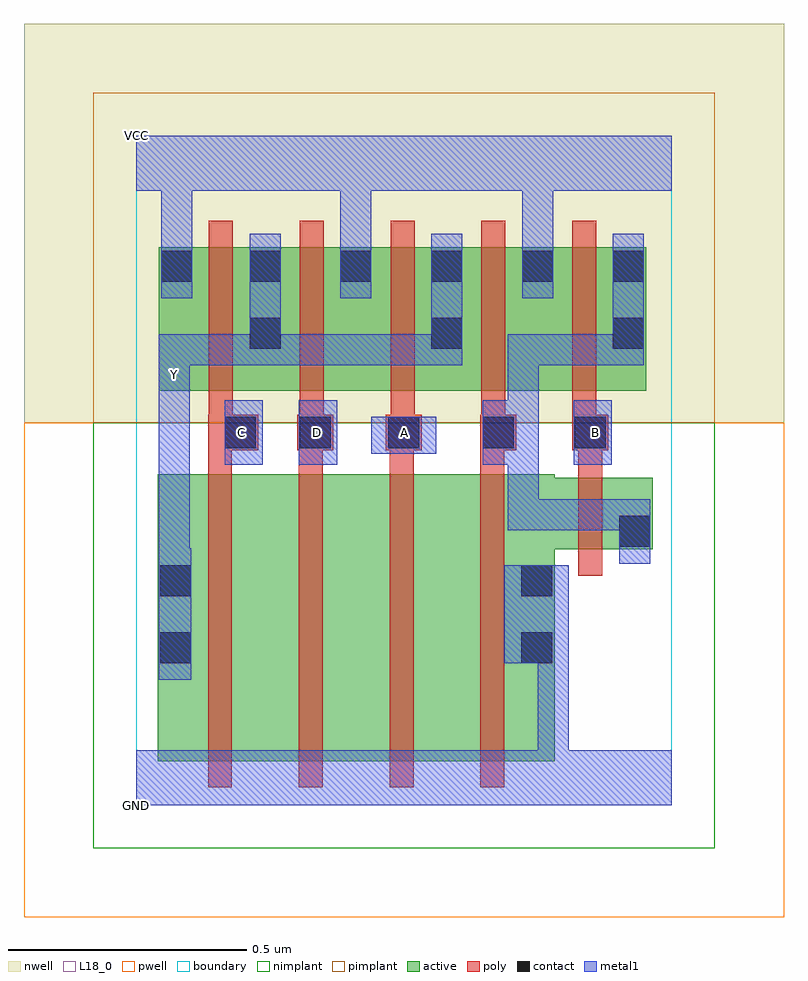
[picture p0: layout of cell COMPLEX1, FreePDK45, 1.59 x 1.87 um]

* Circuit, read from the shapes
.subckt COMPLEX1 A B C D GND VCC Y
M1 n1 C Y VSUBS nfet w=0.6u l=0.05u
M2 n2 D n1 VSUBS nfet w=0.6u l=0.05u
M3 n3 A n2 VSUBS nfet w=0.6u l=0.05u
M4 GND n4 n3 VSUBS nfet w=0.6u l=0.05u
M5 n4 B GND VSUBS nfet w=0.15u l=0.05u
M6 Y C VCC n5 pfet w=0.3u l=0.05u
M7 VCC D Y n5 pfet w=0.3u l=0.05u
M8 Y A VCC n5 pfet w=0.3u l=0.05u
M9 VCC n4 Y n5 pfet w=0.3u l=0.05u
M10 n4 B VCC n5 pfet w=0.3u l=0.05u
.ends

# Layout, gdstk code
import gdstk
lib = gdstk.Library(unit=1e-6, precision=1e-09)
def R(c, l, rs):  # rectangles x0, y0, x1, y1
    for r in rs: c.add(gdstk.rectangle(r[:2], r[2:], *l))
def A(c, l, x, y, w, h, nx, ny, dx, dy):  # array of equal rectangles
    R(c, l, [(x+i*dx, y+j*dy, x+i*dx+w, y+j*dy+h) for i in range(nx) for j in range(ny)])
active = (1, 0)
pwell = (2, 0)
nwell = (3, 0)
nimplant = (4, 0)
pimplant = (5, 0)
poly = (9, 0)
contact = (10, 0)
metal1 = (11, 0)
L18_0 = (18, 0)
boundary = (235, 0)

complex1 = lib.new_cell('COMPLEX1')
A(complex1, active, 0.232, 0.867, 0.265, 0.3, 4, 1, 0.19, 0)
R(complex1, active, [(0.045,0.092,0.27,0.692), (0.27,0.092,0.46,0.692), (0.46,0.092,0.65,0.692), (0.65,0.092,0.875,0.692), (0.045,0.145,0.15,0.692), (0.8,0.292,0.875,0.685), (0.8,0.535,1.08,0.685), (1.005,0.535,1.08,0.685), (0.047,0.867,0.307,1.167), (0.047,0.867,0.122,1.167), (0.992,0.867,1.067,1.165), (0.232,0.907,0.307,1.167), (0.612,0.95,0.687,1.167), (0.422,1.002,0.497,1.167), (0.802,1.007,0.877,1.167)])
R(complex1, pwell, [(-0.235,-0.235,1.355,0.8)])
R(complex1, nwell, [(-0.235,0.8,1.355,1.635)])
R(complex1, nimplant, [(-0.09,-0.09,1.21,0.8)])
R(complex1, pimplant, [(-0.09,0.8,1.21,1.49)])
A(complex1, poly, 0.15, 0.037, 0.05, 0.71, 4, 1, 0.19, 0)
A(complex1, poly, 0.15, 0.697, 0.05, 0.095, 4, 1, 0.19, 0)
A(complex1, poly, 0.152, 0.767, 0.05, 0.095, 5, 1, 0.19, 0)
A(complex1, poly, 0.152, 0.812, 0.05, 0.41, 5, 1, 0.19, 0)
R(complex1, poly, [(0.925,0.48,0.975,0.74), (0.925,0.69,0.975,0.792), (0.15,0.742,0.255,0.817), (0.337,0.742,0.412,0.817), (0.522,0.742,0.597,0.817), (0.72,0.742,0.795,0.817), (0.912,0.742,0.987,0.817)])
A(complex1, contact, 0.237, 0.955, 0.065, 0.065, 3, 1, 0.38, 0)
A(complex1, contact, 0.237, 1.095, 0.065, 0.065, 5, 1, 0.19, 0)
R(complex1, contact, [(0.05,0.297,0.115,0.362), (0.805,0.297,0.87,0.362), (0.05,0.437,0.115,0.502), (0.805,0.437,0.87,0.502), (1.01,0.54,1.075,0.605), (0.185,0.747,0.25,0.812), (0.342,0.747,0.407,0.812), (0.527,0.747,0.592,0.812), (0.725,0.747,0.79,0.812), (0.917,0.747,0.982,0.812), (0.052,1.095,0.117,1.16)])
A(complex1, metal1, 0.237, 0.92, 0.065, 0.275, 3, 1, 0.38, 0)
R(complex1, metal1, [(0,0,1.12,0.115), (0.84,0.05,0.905,0.362), (0.047,0.262,0.115,0.537), (0.77,0.297,0.905,0.502), (0.84,0.297,0.905,0.362), (0.84,0.297,0.905,0.362), (0.047,0.472,0.112,0.897), (1.01,0.505,1.075,0.64), (0.777,0.575,0.842,0.64), (0.777,0.575,1.075,0.64), (0.777,0.575,0.842,0.777), (1.01,0.575,1.075,0.64), (1.01,0.575,1.075,0.64), (0.185,0.712,0.265,0.847), (0.34,0.712,0.42,0.847), (0.725,0.712,0.79,0.847), (0.725,0.712,0.842,0.777), (0.777,0.712,0.842,0.777), (0.777,0.712,0.842,0.985), (0.915,0.712,0.995,0.847), (0.492,0.735,0.627,0.812), (0.047,0.832,0.112,0.967), (0.047,0.902,0.112,0.985), (0.047,0.92,0.112,0.985), (0.047,0.92,0.112,0.985), (0.047,0.92,0.112,0.985), (0.047,0.92,0.302,0.985), (0.237,0.92,0.302,0.985), (0.237,0.92,0.302,0.985), (0.237,0.92,0.545,0.985), (0.48,0.92,0.545,0.985), (0.48,0.92,0.545,0.985), (0.48,0.92,0.545,0.985), (0.48,0.92,0.682,0.985), (0.777,0.92,0.842,0.985), (0.777,0.92,1.062,0.985), (0.997,0.92,1.062,0.985), (0.997,0.92,1.062,0.985), (0.052,1.06,0.117,1.195), (0.427,1.06,0.492,1.195), (0.807,1.06,0.872,1.195), (0.052,1.13,0.117,1.35), (0.427,1.13,0.492,1.195), (0.427,1.13,0.492,1.195), (0.427,1.13,0.492,1.35), (0.807,1.13,0.872,1.195), (0.807,1.13,0.872,1.195), (0.807,1.13,0.872,1.35), (0,1.285,1.12,1.4), (0.052,1.285,0.117,1.35), (0.052,1.285,0.117,1.35)])
R(complex1, L18_0, [(0,0,1.12,0.115), (0.84,0.05,0.905,0.362), (0.047,0.262,0.115,0.537), (0.77,0.297,0.905,0.502), (0.84,0.297,0.905,0.362), (0.84,0.297,0.905,0.362), (0.047,0.472,0.112,0.897), (0.185,0.712,0.265,0.847), (0.34,0.712,0.42,0.847), (0.915,0.712,0.995,0.847), (0.492,0.735,0.627,0.812), (0.187,0.747,0.252,0.812), (0.347,0.747,0.412,0.812), (0.527,0.747,0.592,0.812), (0.927,0.747,0.992,0.812), (0.047,0.832,0.112,0.967), (0.047,0.867,0.112,0.932), (0.047,0.902,0.112,0.985), (0.047,0.92,0.112,0.985), (0.047,0.92,0.112,0.985), (0.047,0.92,0.112,0.985), (0.047,0.92,0.302,0.985), (0.237,0.92,0.302,0.985), (0.237,0.92,0.302,0.985), (0.237,0.92,0.302,1.195), (0.237,0.92,0.545,0.985), (0.48,0.92,0.545,0.985), (0.48,0.92,0.545,0.985), (0.48,0.92,0.545,0.985), (0.48,0.92,0.682,0.985), (0.617,0.92,0.682,1.195), (0.052,1.06,0.117,1.195), (0.427,1.06,0.492,1.195), (0.807,1.06,0.872,1.195), (0.052,1.13,0.117,1.35), (0.427,1.13,0.492,1.195), (0.427,1.13,0.492,1.195), (0.427,1.13,0.492,1.35), (0.807,1.13,0.872,1.195), (0.807,1.13,0.872,1.195), (0.807,1.13,0.872,1.35), (0,1.285,1.12,1.4), (0.052,1.285,0.117,1.35), (0.052,1.285,0.117,1.35)])
R(complex1, boundary, [(0,0,1.12,1.4)])
complex1.add(gdstk.Label('A', (0.56,0.78), layer=11, texttype=0))
complex1.add(gdstk.Label('B', (0.96,0.78), layer=11, texttype=0))
complex1.add(gdstk.Label('C', (0.22,0.78), layer=11, texttype=0))
complex1.add(gdstk.Label('D', (0.38,0.78), layer=11, texttype=0))
complex1.add(gdstk.Label('Y', (0.08,0.9), layer=11, texttype=0))
complex1.add(gdstk.Label('VCC', (0,1.4), layer=11, texttype=0))
complex1.add(gdstk.Label('GND', (0,0), layer=11, texttype=0))

lib.write_gds('COMPLEX1.gds')
